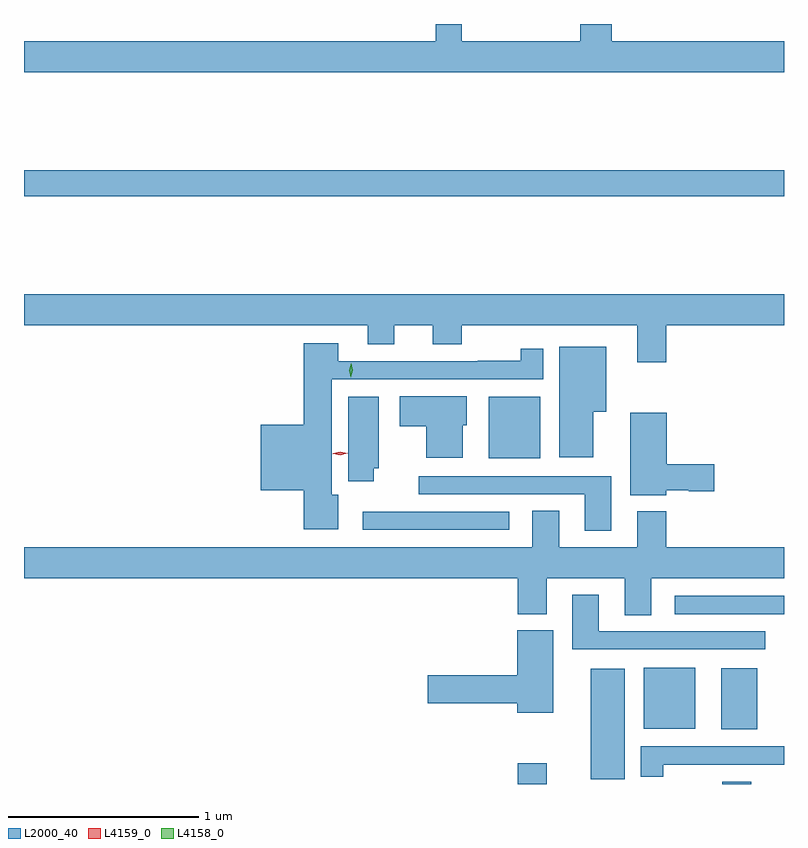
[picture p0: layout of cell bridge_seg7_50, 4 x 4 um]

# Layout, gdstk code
import gdstk
lib = gdstk.Library(unit=1e-6, precision=1e-09)
def R(c, l, rs):  # rectangles x0, y0, x1, y1
    for r in rs: c.add(gdstk.rectangle(r[:2], r[2:], *l))
def P(c, l, *ps):  # polygons
    for p in ps: c.add(gdstk.Polygon(p, *l))
L2000_40 = (2000, 40)
L4158_0 = (4158, 0)
L4159_0 = (4159, 0)

bridge_seg7_50 = lib.new_cell('bridge_seg7_50')
R(bridge_seg7_50, L2000_40, [(971.447,1020.846,971.599,1020.955), (972.524,1020.846,972.676,1020.859), (971.831,1020.872,972.01,1021.453), (972.518,1021.133,972.709,1021.456), (972.11,1021.136,972.382,1021.459), (972.273,1021.74,972.849,1021.836), (970.632,1022.184,971.404,1022.28), (971.294,1022.561,971.566,1022.884), (968.849,1023.94,972.849,1024.076)])
P(bridge_seg7_50, L2000_40, [(972.849,1024.756),(971.942,1024.756),(971.942,1024.846),(971.777,1024.846),(971.777,1024.756),(971.153,1024.756),(971.153,1024.846),(971.017,1024.846),(971.017,1024.756),(968.849,1024.756),(968.849,1024.592),(972.849,1024.592)],
  [(972.23,1023.26),(972.849,1023.26),(972.849,1023.424),(968.849,1023.424),(968.849,1023.26),(970.658,1023.26),(970.658,1023.161),(970.798,1023.161),(970.798,1023.26),(971,1023.26),(971,1023.161),(971.153,1023.161),(971.153,1023.26),(972.077,1023.26),(972.077,1023.066),(972.23,1023.066)],
  [(970.504,1022.368),(970.468,1022.368),(970.468,1022.976),(971.581,1022.976),(971.581,1023.136),(971.464,1023.136),(971.464,1023.074),(971.236,1023.074),(971.236,1023.072),(970.504,1023.072),(970.504,1023.166),(970.322,1023.166),(970.322,1022.737),(970.094,1022.737),(970.094,1022.393),(970.322,1022.393),(970.322,1022.186),(970.504,1022.186)],
  [(971.845,1022.804),(971.914,1022.804),(971.914,1023.148),(971.666,1023.148),(971.666,1022.567),(971.845,1022.567)],
  [(971.158,1022.733),(971.179,1022.733),(971.179,1022.887),(970.827,1022.887),(970.827,1022.729),(970.967,1022.729),(970.967,1022.564),(971.158,1022.564)],
  [(970.69,1022.508),(970.717,1022.508),(970.717,1022.884),(970.556,1022.884),(970.556,1022.439),(970.69,1022.439)],
  [(972.228,1022.393),(972.348,1022.393),(972.348,1022.386),(972.481,1022.386),(972.481,1022.528),(972.232,1022.528),(972.232,1022.8),(972.041,1022.8),(972.041,1022.366),(972.228,1022.366)],
  [(971.941,1022.466),(970.926,1022.466),(970.926,1022.37),(971.801,1022.37),(971.801,1022.178),(971.941,1022.178)],
  [(972.151,1021.928),(972.849,1021.928),(972.849,1022.092),(972.23,1022.092),(972.23,1022.281),(972.077,1022.281),(972.077,1022.092),(971.665,1022.092),(971.665,1022.285),(971.525,1022.285),(971.525,1022.092),(968.849,1022.092),(968.849,1021.928),(971.447,1021.928),(971.447,1021.739),(971.599,1021.739),(971.599,1021.928),(972.011,1021.928),(972.011,1021.735),(972.151,1021.735)],
  [(972.751,1021.65),(971.875,1021.65),(971.875,1021.843),(971.735,1021.843),(971.735,1021.554),(972.751,1021.554)],
  [(971.635,1021.654),(971.444,1021.654),(971.444,1021.418),(970.974,1021.418),(970.974,1021.271),(971.444,1021.271),(971.444,1021.22),(971.635,1021.22)],
  [(972.213,1020.947),(972.44,1020.947),(972.44,1020.948),(972.849,1020.948),(972.849,1021.044),(972.095,1021.044),(972.095,1020.885),(972.213,1020.885)])
P(bridge_seg7_50, L4158_0, [(970.568,1022.988),(970.568,1022.988),(970.56,1023.024),(970.571,1023.06),(970.572,1023.06),(970.572,1023.06),(970.58,1023.024),(970.569,1022.988)])
P(bridge_seg7_50, L4159_0, [(970.514,1022.576),(970.476,1022.585),(970.475,1022.585),(970.476,1022.586),(970.514,1022.596),(970.552,1022.587),(970.552,1022.587),(970.552,1022.587)])

lib.write_gds('bridge_seg7_50.gds')
